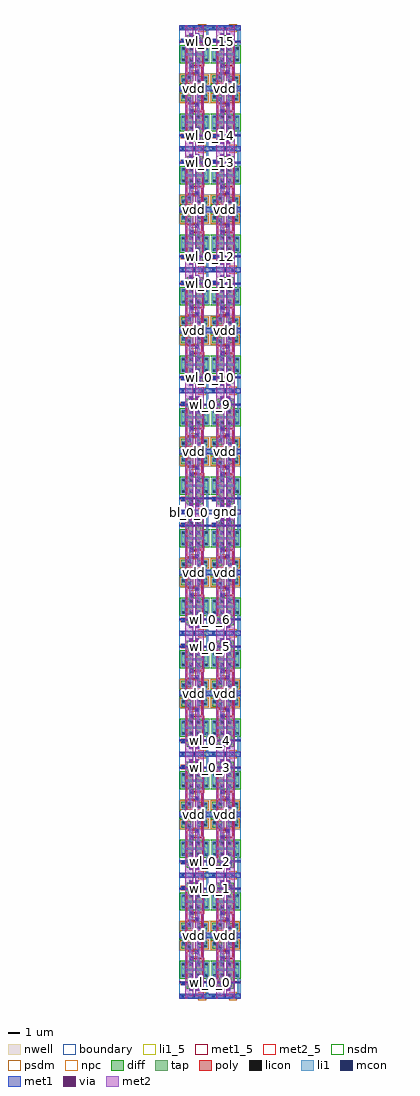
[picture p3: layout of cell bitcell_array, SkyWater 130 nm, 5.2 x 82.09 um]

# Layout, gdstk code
import gdstk
lib = gdstk.Library(unit=1e-6, precision=1e-09)
def R(c, l, rs):  # rectangles x0, y0, x1, y1
    for r in rs: c.add(gdstk.rectangle(r[:2], r[2:], *l))
nwell = (64, 20)
diff = (65, 20)
tap = (65, 44)
poly = (66, 20)
licon = (66, 44)
li1_5 = (67, 5)
li1 = (67, 20)
mcon = (67, 44)
met1_5 = (68, 5)
met1 = (68, 20)
via = (68, 44)
met2_5 = (69, 5)
met2 = (69, 20)
nsdm = (93, 44)
psdm = (94, 20)
npc = (95, 20)
boundary = (235, 4)

cell_1rw = lib.new_cell('cell_1rw')
R(cell_1rw, nwell, [(0,3.82,2.6,5.54)])
R(cell_1rw, diff, [(0.76,0.76,1.18,1.59), (1.45,0.76,1.87,1.59), (0.18,1.59,1.18,2.85), (1.45,1.59,2.45,2.85), (0.18,4,1.03,4.55), (1.51,4.05,2.36,4.6)])
R(cell_1rw, tap, [(1.73,-0.2,2.14,0.21), (0.18,4.82,0.71,5.35)])
R(cell_1rw, poly, [(0.18,0.92,0.51,1.1), (0,1.1,2.6,1.25), (0.53,1.46,0.68,3.74), (1.95,1.46,2.1,3.09), (0.9,3.02,1.23,3.09), (0.9,3.09,2.1,3.24), (0.9,3.24,1.23,3.35), (1.86,3.24,2.01,4.73), (1.32,3.56,1.65,3.74), (0.53,3.74,1.65,3.89), (0.53,3.89,0.68,4.68)])
R(cell_1rw, licon, [(1.85,-0.08,2.02,0.09), (0.93,0.83,1.1,1), (1.53,0.84,1.7,1.01), (0.26,1,0.43,1.17), (0.26,1.67,0.43,1.84), (0.93,1.67,1.1,1.84), (1.53,1.67,1.7,1.84), (2.2,1.67,2.37,1.84), (0.26,2.6,0.43,2.77), (0.93,2.6,1.1,2.77), (1.53,2.6,1.7,2.77), (2.2,2.6,2.37,2.77), (0.98,3.1,1.15,3.27), (1.4,3.64,1.57,3.81), (0.78,4.08,0.95,4.25), (2.11,4.13,2.28,4.3), (0.26,4.3,0.43,4.47), (1.59,4.35,1.76,4.52), (0.36,5,0.53,5.17)])
R(cell_1rw, li1_5, [(1.02,3.14,1.13,3.25), (1.43,3.67,1.54,3.78)])
R(cell_1rw, li1, [(1.77,-0.16,2.1,-0.12), (0,-0.12,2.6,0.13), (1.77,0.13,2.1,0.17), (2.28,0.13,2.45,1.59), (0.94,0.52,1.11,0.76), (1.45,0.52,1.62,0.76), (0.85,0.76,1.18,1.08), (1.45,0.76,1.78,1.09), (0.18,0.92,0.51,1.25), (0.18,1.59,0.51,2.14), (0.85,1.59,1.18,1.92), (1.45,1.59,1.78,1.92), (2.12,1.59,2.45,2.14), (0.18,2.14,2.45,2.31), (0.18,2.31,0.51,2.85), (2.12,2.31,2.45,2.85), (0.85,2.52,1.18,2.85), (1.45,2.52,1.78,2.85), (0.85,2.85,1.02,3.02), (1.51,2.85,1.68,3.56), (0.85,3.02,1.23,3.35), (0.85,3.35,1.02,4), (1.32,3.56,1.68,3.89), (1.51,3.89,1.68,4.27), (0.7,4,1.03,4.33), (2.03,4.05,2.36,4.38), (0.18,4.22,0.51,4.55), (1.51,4.27,1.84,4.6), (2.11,4.38,2.28,4.96), (0.28,4.55,0.45,4.92), (0.28,4.92,0.61,4.96), (0,4.96,2.6,5.21), (0.28,5.21,0.61,5.25)])
R(cell_1rw, mcon, [(0.21,-0.08,0.38,0.09), (1.14,-0.08,1.31,0.09), (1.85,-0.08,2.02,0.09), (0.94,0.52,1.11,0.69), (1.45,0.52,1.62,0.69), (0.26,1,0.43,1.17), (0.98,3.1,1.15,3.27), (1.4,3.64,1.57,3.81), (0.36,5,0.53,5.17), (1.14,5,1.31,5.17), (1.61,5,1.78,5.17), (2.11,5,2.28,5.17)])
R(cell_1rw, met1_5, [(1.87,-0.05,1.98,0.06), (0.28,1.02,0.39,1.13), (0.38,5.03,0.49,5.14)])
R(cell_1rw, met1, [(0,-0.2,2.6,0.21), (0,-0.2,2.6,0.21), (0.86,0.44,1.18,0.76), (1.37,0.44,1.69,0.76), (0.18,0.92,0.51,1.07), (0.2,1.07,0.49,1.23), (0.2,1.07,0.49,1.23), (0.92,3.04,1.21,3.33), (1.34,3.58,1.63,3.87), (0,4.85,2.6,5.3), (0,4.85,2.6,5.3)])
R(cell_1rw, via, [(0.945,0.525,1.095,0.675), (1.455,0.525,1.605,0.675)])
R(cell_1rw, met2_5, [(0.89,0.47,1.15,0.73), (1.47,0.52,1.58,0.63)])
R(cell_1rw, met2, [(0.53,-0.2,0.67,0.51), (1.95,-0.2,2.09,0.52), (0.86,0.44,1.18,0.51), (1.37,0.44,1.69,0.52), (0.53,0.51,1.18,0.65), (0.53,0.51,1.18,0.65), (1.37,0.52,2.09,0.66), (1.37,0.52,2.09,0.66), (0.53,0.65,0.67,5.54), (0.86,0.65,1.18,0.76), (1.37,0.66,1.69,0.76), (1.95,0.66,2.09,5.54)])
R(cell_1rw, nsdm, [(0.635,0.635,1.995,1.465), (0.055,1.465,2.575,2.975), (0.055,4.695,0.835,5.475)])
R(cell_1rw, psdm, [(1.605,-0.325,2.265,0.335), (0.055,3.875,1.155,3.925), (0.055,3.925,2.485,4.675), (1.385,4.675,2.485,4.725)])
R(cell_1rw, npc, [(0.16,0.9,0.53,1.27), (0.88,3,1.25,3.32), (0.88,3.32,1.57,3.37), (0.98,3.37,1.57,3.54), (0.98,3.54,1.67,3.59), (1.3,3.59,1.67,3.91)])
R(cell_1rw, boundary, [(0,0,2.6,5.09)])
cell_1rw.add(gdstk.Label('vdd', (0.435,5.085), layer=68, texttype=5))
cell_1rw.add(gdstk.Label('gnd', (1.925,0.005), layer=68, texttype=5))
cell_1rw.add(gdstk.Label('wl', (0.335,1.075), layer=68, texttype=5))
cell_1rw.add(gdstk.Label('q', (1.075,3.195), layer=67, texttype=5))
cell_1rw.add(gdstk.Label('qb', (1.485,3.725), layer=67, texttype=5))
cell_1rw.add(gdstk.Label('br', (1.525,0.575), layer=69, texttype=5))
cell_1rw.add(gdstk.Label('bl', (1.02,0.6), layer=69, texttype=5))
cell_1rw.add(gdstk.Label('bl', (0.855,0.58), layer=69, texttype=20))
cell_1rw.add(gdstk.Label('br', (1.73,0.59), layer=69, texttype=20))
cell_1rw.add(gdstk.Label('wl', (0.345,1.15), layer=68, texttype=20))
cell_1rw.add(gdstk.Label('vdd', (1.3,5.075), layer=68, texttype=20))
cell_1rw.add(gdstk.Label('gnd', (1.3,0.005), layer=68, texttype=20))

bitcell_array = lib.new_cell('bitcell_array')
R(bitcell_array, met1, [(0,-0.2,2.6,0.21), (2.6,-0.2,5.2,0.21), (0,1.07,5.2,1.23), (0,4.85,2.6,5.3), (2.6,4.85,5.2,5.3), (0,4.88,2.6,5.33), (2.6,4.88,5.2,5.33), (0,8.95,5.2,9.11), (0,9.97,2.6,10.38), (2.6,9.97,5.2,10.38), (0,9.98,2.6,10.39), (2.6,9.98,5.2,10.39), (0,11.25,5.2,11.41), (0,15.03,2.6,15.48), (2.6,15.03,5.2,15.48), (0,15.06,2.6,15.51), (2.6,15.06,5.2,15.51), (0,19.13,5.2,19.29), (0,20.15,2.6,20.56), (2.6,20.15,5.2,20.56), (0,20.16,2.6,20.57), (2.6,20.16,5.2,20.57), (0,21.43,5.2,21.59), (0,25.21,2.6,25.66), (2.6,25.21,5.2,25.66), (0,25.24,2.6,25.69), (2.6,25.24,5.2,25.69), (0,29.31,5.2,29.47), (0,30.33,2.6,30.74), (2.6,30.33,5.2,30.74), (0,30.34,2.6,30.75), (2.6,30.34,5.2,30.75), (0,31.61,5.2,31.77), (0,35.39,2.6,35.84), (2.6,35.39,5.2,35.84), (0,35.42,2.6,35.87), (2.6,35.42,5.2,35.87), (0,39.49,5.2,39.65), (0,40.51,2.6,40.92), (2.6,40.51,5.2,40.92), (0,40.52,2.6,40.93), (2.6,40.52,5.2,40.93), (0,41.79,5.2,41.95), (0,45.57,2.6,46.02), (2.6,45.57,5.2,46.02), (0,45.6,2.6,46.05), (2.6,45.6,5.2,46.05), (0,49.67,5.2,49.83), (0,50.69,2.6,51.1), (2.6,50.69,5.2,51.1), (0,50.7,2.6,51.11), (2.6,50.7,5.2,51.11), (0,51.97,5.2,52.13), (0,55.75,2.6,56.2), (2.6,55.75,5.2,56.2), (0,55.78,2.6,56.23), (2.6,55.78,5.2,56.23), (0,59.85,5.2,60.01), (0,60.87,2.6,61.28), (2.6,60.87,5.2,61.28), (0,60.88,2.6,61.29), (2.6,60.88,5.2,61.29), (0,62.15,5.2,62.31), (0,65.93,2.6,66.38), (2.6,65.93,5.2,66.38), (0,65.96,2.6,66.41), (2.6,65.96,5.2,66.41), (0,70.03,5.2,70.19), (0,71.05,2.6,71.46), (2.6,71.05,5.2,71.46), (0,71.06,2.6,71.47), (2.6,71.06,5.2,71.47), (0,72.33,5.2,72.49), (0,76.11,2.6,76.56), (2.6,76.11,5.2,76.56), (0,76.14,2.6,76.59), (2.6,76.14,5.2,76.59), (0,80.21,5.2,80.37), (0,81.23,2.6,81.64), (2.6,81.23,5.2,81.64)])
R(bitcell_array, met2, [(0.53,0,1.18,81.44), (1.37,0,2.09,81.44), (3.13,0,3.78,81.44), (3.97,0,4.69,81.44)])
R(bitcell_array, boundary, [(0,0,5.2,81.44)])
bitcell_array.add(gdstk.Reference(cell_1rw, (0,0)))
bitcell_array.add(gdstk.Reference(cell_1rw, (0,10.18), x_reflection=True))
bitcell_array.add(gdstk.Reference(cell_1rw, (0,10.18)))
bitcell_array.add(gdstk.Reference(cell_1rw, (0,20.36), x_reflection=True))
bitcell_array.add(gdstk.Reference(cell_1rw, (0,20.36)))
bitcell_array.add(gdstk.Reference(cell_1rw, (0,30.54), x_reflection=True))
bitcell_array.add(gdstk.Reference(cell_1rw, (0,30.54)))
bitcell_array.add(gdstk.Reference(cell_1rw, (0,40.72), x_reflection=True))
bitcell_array.add(gdstk.Reference(cell_1rw, (0,40.72)))
bitcell_array.add(gdstk.Reference(cell_1rw, (0,50.9), x_reflection=True))
bitcell_array.add(gdstk.Reference(cell_1rw, (0,50.9)))
bitcell_array.add(gdstk.Reference(cell_1rw, (0,61.08), x_reflection=True))
bitcell_array.add(gdstk.Reference(cell_1rw, (0,61.08)))
bitcell_array.add(gdstk.Reference(cell_1rw, (0,71.26), x_reflection=True))
bitcell_array.add(gdstk.Reference(cell_1rw, (0,71.26)))
bitcell_array.add(gdstk.Reference(cell_1rw, (0,81.44), x_reflection=True))
bitcell_array.add(gdstk.Reference(cell_1rw, (2.6,0)))
bitcell_array.add(gdstk.Reference(cell_1rw, (2.6,10.18), x_reflection=True))
bitcell_array.add(gdstk.Reference(cell_1rw, (2.6,10.18)))
bitcell_array.add(gdstk.Reference(cell_1rw, (2.6,20.36), x_reflection=True))
bitcell_array.add(gdstk.Reference(cell_1rw, (2.6,20.36)))
bitcell_array.add(gdstk.Reference(cell_1rw, (2.6,30.54), x_reflection=True))
bitcell_array.add(gdstk.Reference(cell_1rw, (2.6,30.54)))
bitcell_array.add(gdstk.Reference(cell_1rw, (2.6,40.72), x_reflection=True))
bitcell_array.add(gdstk.Reference(cell_1rw, (2.6,40.72)))
bitcell_array.add(gdstk.Reference(cell_1rw, (2.6,50.9), x_reflection=True))
bitcell_array.add(gdstk.Reference(cell_1rw, (2.6,50.9)))
bitcell_array.add(gdstk.Reference(cell_1rw, (2.6,61.08), x_reflection=True))
bitcell_array.add(gdstk.Reference(cell_1rw, (2.6,61.08)))
bitcell_array.add(gdstk.Reference(cell_1rw, (2.6,71.26), x_reflection=True))
bitcell_array.add(gdstk.Reference(cell_1rw, (2.6,71.26)))
bitcell_array.add(gdstk.Reference(cell_1rw, (2.6,81.44), x_reflection=True))
bitcell_array.add(gdstk.Label('bl_0_0', (0.855,40.72), layer=69, texttype=20))
bitcell_array.add(gdstk.Label('br_0_0', (1.73,40.72), layer=69, texttype=20))
bitcell_array.add(gdstk.Label('bl_0_1', (3.455,40.72), layer=69, texttype=20))
bitcell_array.add(gdstk.Label('br_0_1', (4.33,40.72), layer=69, texttype=20))
bitcell_array.add(gdstk.Label('wl_0_0', (2.6,1.15), layer=68, texttype=20))
bitcell_array.add(gdstk.Label('wl_0_1', (2.6,9.03), layer=68, texttype=20))
bitcell_array.add(gdstk.Label('wl_0_2', (2.6,11.33), layer=68, texttype=20))
bitcell_array.add(gdstk.Label('wl_0_3', (2.6,19.21), layer=68, texttype=20))
bitcell_array.add(gdstk.Label('wl_0_4', (2.6,21.51), layer=68, texttype=20))
bitcell_array.add(gdstk.Label('wl_0_5', (2.6,29.39), layer=68, texttype=20))
bitcell_array.add(gdstk.Label('wl_0_6', (2.6,31.69), layer=68, texttype=20))
bitcell_array.add(gdstk.Label('wl_0_7', (2.6,39.57), layer=68, texttype=20))
bitcell_array.add(gdstk.Label('wl_0_8', (2.6,41.87), layer=68, texttype=20))
bitcell_array.add(gdstk.Label('wl_0_9', (2.6,49.75), layer=68, texttype=20))
bitcell_array.add(gdstk.Label('wl_0_10', (2.6,52.05), layer=68, texttype=20))
bitcell_array.add(gdstk.Label('wl_0_11', (2.6,59.93), layer=68, texttype=20))
bitcell_array.add(gdstk.Label('wl_0_12', (2.6,62.23), layer=68, texttype=20))
bitcell_array.add(gdstk.Label('wl_0_13', (2.6,70.11), layer=68, texttype=20))
bitcell_array.add(gdstk.Label('wl_0_14', (2.6,72.41), layer=68, texttype=20))
bitcell_array.add(gdstk.Label('wl_0_15', (2.6,80.29), layer=68, texttype=20))
bitcell_array.add(gdstk.Label('vdd', (3.9,45.795), layer=68, texttype=20))
bitcell_array.add(gdstk.Label('vdd', (1.3,66.185), layer=68, texttype=20))
bitcell_array.add(gdstk.Label('vdd', (1.3,45.825), layer=68, texttype=20))
bitcell_array.add(gdstk.Label('vdd', (3.9,5.075), layer=68, texttype=20))
bitcell_array.add(gdstk.Label('vdd', (1.3,15.255), layer=68, texttype=20))
bitcell_array.add(gdstk.Label('vdd', (1.3,35.615), layer=68, texttype=20))
bitcell_array.add(gdstk.Label('vdd', (3.9,35.645), layer=68, texttype=20))
bitcell_array.add(gdstk.Label('vdd', (1.3,76.335), layer=68, texttype=20))
bitcell_array.add(gdstk.Label('vdd', (3.9,35.615), layer=68, texttype=20))
bitcell_array.add(gdstk.Label('vdd', (1.3,45.795), layer=68, texttype=20))
bitcell_array.add(gdstk.Label('vdd', (3.9,15.285), layer=68, texttype=20))
bitcell_array.add(gdstk.Label('vdd', (3.9,45.825), layer=68, texttype=20))
bitcell_array.add(gdstk.Label('vdd', (1.3,35.645), layer=68, texttype=20))
bitcell_array.add(gdstk.Label('vdd', (3.9,55.975), layer=68, texttype=20))
bitcell_array.add(gdstk.Label('vdd', (3.9,76.365), layer=68, texttype=20))
bitcell_array.add(gdstk.Label('vdd', (3.9,76.335), layer=68, texttype=20))
bitcell_array.add(gdstk.Label('vdd', (1.3,5.075), layer=68, texttype=20))
bitcell_array.add(gdstk.Label('vdd', (3.9,56.005), layer=68, texttype=20))
bitcell_array.add(gdstk.Label('vdd', (1.3,76.365), layer=68, texttype=20))
bitcell_array.add(gdstk.Label('vdd', (3.9,66.185), layer=68, texttype=20))
bitcell_array.add(gdstk.Label('vdd', (1.3,56.005), layer=68, texttype=20))
bitcell_array.add(gdstk.Label('vdd', (3.9,15.255), layer=68, texttype=20))
bitcell_array.add(gdstk.Label('vdd', (1.3,15.285), layer=68, texttype=20))
bitcell_array.add(gdstk.Label('vdd', (1.3,5.105), layer=68, texttype=20))
bitcell_array.add(gdstk.Label('vdd', (3.9,5.105), layer=68, texttype=20))
bitcell_array.add(gdstk.Label('vdd', (1.3,55.975), layer=68, texttype=20))
bitcell_array.add(gdstk.Label('vdd', (1.3,25.435), layer=68, texttype=20))
bitcell_array.add(gdstk.Label('vdd', (1.3,25.465), layer=68, texttype=20))
bitcell_array.add(gdstk.Label('vdd', (3.9,25.465), layer=68, texttype=20))
bitcell_array.add(gdstk.Label('vdd', (3.9,25.435), layer=68, texttype=20))
bitcell_array.add(gdstk.Label('vdd', (3.9,66.155), layer=68, texttype=20))
bitcell_array.add(gdstk.Label('vdd', (1.3,66.155), layer=68, texttype=20))
bitcell_array.add(gdstk.Label('gnd', (3.9,10.185), layer=68, texttype=20))
bitcell_array.add(gdstk.Label('gnd', (3.9,50.895), layer=68, texttype=20))
bitcell_array.add(gdstk.Label('gnd', (1.3,71.255), layer=68, texttype=20))
bitcell_array.add(gdstk.Label('gnd', (1.3,10.175), layer=68, texttype=20))
bitcell_array.add(gdstk.Label('gnd', (3.9,40.725), layer=68, texttype=20))
bitcell_array.add(gdstk.Label('gnd', (1.3,20.355), layer=68, texttype=20))
bitcell_array.add(gdstk.Label('gnd', (3.9,71.255), layer=68, texttype=20))
bitcell_array.add(gdstk.Label('gnd', (3.9,81.435), layer=68, texttype=20))
bitcell_array.add(gdstk.Label('gnd', (1.3,40.725), layer=68, texttype=20))
bitcell_array.add(gdstk.Label('gnd', (3.9,61.085), layer=68, texttype=20))
bitcell_array.add(gdstk.Label('gnd', (1.3,40.715), layer=68, texttype=20))
bitcell_array.add(gdstk.Label('gnd', (1.3,71.265), layer=68, texttype=20))
bitcell_array.add(gdstk.Label('gnd', (1.3,50.905), layer=68, texttype=20))
bitcell_array.add(gdstk.Label('gnd', (3.9,71.265), layer=68, texttype=20))
bitcell_array.add(gdstk.Label('gnd', (1.3,61.085), layer=68, texttype=20))
bitcell_array.add(gdstk.Label('gnd', (3.9,61.075), layer=68, texttype=20))
bitcell_array.add(gdstk.Label('gnd', (3.9,30.535), layer=68, texttype=20))
bitcell_array.add(gdstk.Label('gnd', (1.3,81.435), layer=68, texttype=20))
bitcell_array.add(gdstk.Label('gnd', (1.3,10.185), layer=68, texttype=20))
bitcell_array.add(gdstk.Label('gnd', (3.9,40.715), layer=68, texttype=20))
bitcell_array.add(gdstk.Label('gnd', (1.3,30.535), layer=68, texttype=20))
bitcell_array.add(gdstk.Label('gnd', (1.3,30.545), layer=68, texttype=20))
bitcell_array.add(gdstk.Label('gnd', (1.3,0.005), layer=68, texttype=20))
bitcell_array.add(gdstk.Label('gnd', (3.9,0.005), layer=68, texttype=20))
bitcell_array.add(gdstk.Label('gnd', (3.9,10.175), layer=68, texttype=20))
bitcell_array.add(gdstk.Label('gnd', (1.3,50.895), layer=68, texttype=20))
bitcell_array.add(gdstk.Label('gnd', (3.9,50.905), layer=68, texttype=20))
bitcell_array.add(gdstk.Label('gnd', (1.3,61.075), layer=68, texttype=20))
bitcell_array.add(gdstk.Label('gnd', (3.9,30.545), layer=68, texttype=20))
bitcell_array.add(gdstk.Label('gnd', (1.3,20.365), layer=68, texttype=20))
bitcell_array.add(gdstk.Label('gnd', (3.9,20.365), layer=68, texttype=20))
bitcell_array.add(gdstk.Label('gnd', (3.9,20.355), layer=68, texttype=20))

lib.write_gds('bitcell_array.gds')
